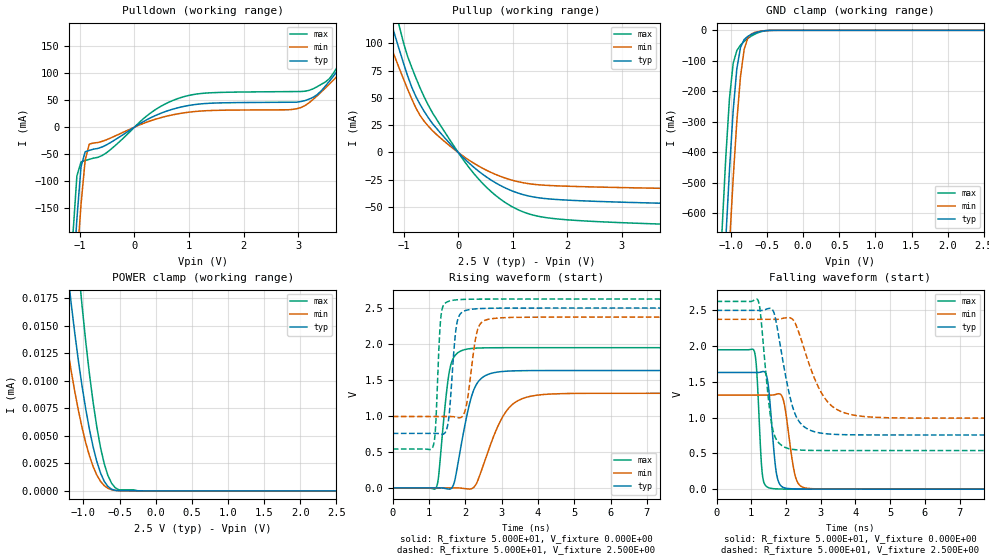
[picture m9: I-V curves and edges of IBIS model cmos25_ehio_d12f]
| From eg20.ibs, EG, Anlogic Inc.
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|   Model cmos25_ehio_d12f
[Model] cmos25_ehio_d12f
Model_type I/O
Enable   Active-Low
Vinl =  7.000E-01
Vinh =  1.700E+00
Vmeas =  1.250E+00
C_comp   4.500E-12   4.200E-12   4.800E-12
[Temperature Range]   2.500E+01   8.500E+01   -4.000E+01
[Voltage Range]   2.500E+00   2.375E+00   2.625E+00
[POWER Clamp Reference]   2.500E+00   2.375E+00   2.625E+00
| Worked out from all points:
|   slope of the pulldown table from 0 to 0.375 V, typ, clamps not added: 17.8 ohm
|   slope of the pullup table from 0 to 0.375 V, typ, clamps not added: 21.8 ohm
|   GND clamp passes 1 mA (typ) near -0.51 V on its own axis
|   rising waveform, R_fixture 5.000E+01, V_fixture 0.000E+00: 20-80 % time 400ps typ, 651ps min, 234ps max; typ from 0 V to 1.63 V
|   rising waveform, R_fixture 5.000E+01, V_fixture 2.500E+00: 20-80 % time 158ps typ, 220ps min, 109ps max; typ from 0.758 V to 2.5 V
|   falling waveform, R_fixture 5.000E+01, V_fixture 0.000E+00: 20-80 % time 173ps typ, 232ps min, 119ps max; typ from 1.63 V to 0 V
|   falling waveform, R_fixture 5.000E+01, V_fixture 2.500E+00: 20-80 % time 435ps typ, 690ps min, 258ps max; typ from 2.5 V to 0.758 V
[Pulldown]
|Voltage   I(typ)   I(min)   I(max)
-2.5V     -2.422A    -2.306A    -2.562A
-1.132V   -289.1mA   -359.7mA   -204.6mA
-1.056V   -170.4mA   -251.1mA   -90.55mA
-980mV    -73.47mA   -143.2mA   -64.33mA
-904mV    -45.6mA    -60.85mA   -61.94mA
-828mV    -43.05mA   -31.29mA   -59.55mA
616mV     30.55mA    20.93mA    45.52mA
3.048V    47.32mA    36.07mA    65.97mA
3.58V     85.73mA    80.33mA    90.37mA
4.112V    157.3mA    136.2mA    182.2mA
4.568V    220.8mA    185.2mA    266.2mA
5V        279mA      230.2mA    342.4mA
[Pullup]
|Voltage   I(typ)   I(min)   I(max)
-2.5V     325.1mA    258mA      408.2mA
-1.384V   144.7mA    116.7mA    180.3mA
-1.232V   119.2mA    96.67mA    147.7mA
-1.08V    94.18mA    77.04mA    115.7mA
-928mV    70.3mA     58.04mA    88.09mA
-776mV    51.28mA    40.77mA    68.38mA
-548mV    31.87mA    24.07mA    43.36mA
-320mV    17.58mA    13.04mA    24.41mA
364mV     -16.74mA   -12.14mA   -23.8mA
1.048V    -36.34mA   -26.17mA   -51.27mA
1.884V    -43.34mA   -30.71mA   -61.22mA
5V        -48.24mA   -34.09mA   -68.03mA
[GND_clamp]
|Voltage   I(typ)   I(min)   I(max)
-2.5V     -8.418A    -8.418A    -8.417A
-1.123V   -930.3mA   -1.179A    -654.3mA
-1.072V   -686.5mA   -937.5mA   -418.3mA
-1.021V   -460.4mA   -705.5mA   -224.3mA
-970mV    -265mA     -489.1mA   -108.9mA
-919mV    -126.3mA   -299.2mA   -66.46mA
-868mV    -56.3mA    -151.3mA   -48.52mA
-817mV    -30.13mA   -62.02mA   -36.27mA
-766mV    -19.43mA   -24.49mA   -26.43mA
-715mV    -12.99mA   -11.58mA   -18.38mA
-460mV    -252.4uA   -232.3uA   -246.2uA
2.5V      0A         0A         0A
[POWER_clamp]
|Voltage   I(typ)   I(min)   I(max)
-2.5V     148.8uA    110.4uA    210.4uA
-1.325V   26.65uA    17.72uA    42.46uA
-1.223V   20.08uA    13.05uA    32.78uA
-1.172V   17.1uA     10.96uA    28.34uA
-1.07V    11.79uA    7.288uA    20.3uA
-1.019V   9.479uA    5.728uA    16.75uA
-917mV    5.566uA    3.179uA    10.59uA
-866mV    3.984uA    2.205uA    8.014uA
-764mV    1.629uA    869nA      3.939uA
-662mV    406.6nA    239.7nA    1.408uA
-509mV    16.06nA    16.71nA    97.23nA
2.5V      0A         0A         0A
[Ramp]
| variable   typ   min   max
dV/dt_r   9.789E-01/4.002E-10   7.894E-01/6.498E-10   1.169E+00/2.345E-10
dV/dt_f   1.045E+00/4.356E-10   8.296E-01/6.992E-10   1.251E+00/2.650E-10
R_load = 5.000E+01
[Rising Waveform]
R_fixture= 5.000E+01
V_fixture= 0.000E+00
V_fixture_min= 0.000E+00
V_fixture_max= 0.000E+00
|time   V(typ)   V(min)   V(max)
0s        0V         0V         0V
1.194ns   233.7uV    0V         399.5uV
1.559ns   -17.64mV   60.92uV    1.619V
1.699ns   85.08mV    771.2uV    1.829V
1.91ns    665.7mV    -4.926mV   1.911V
2.148ns   1.233V     -14.54mV   1.937V
2.381ns   1.493V     155mV      1.945V
3.041ns   1.619V     999.5mV    1.949V
3.681ns   1.63V      1.26V      1.949V
10ns      1.632V     1.316V     1.949V
[Rising Waveform]
R_fixture= 5.000E+01
V_fixture= 2.500E+00
V_fixture_min= 2.375E+00
V_fixture_max= 2.625E+00
|time   V(typ)   V(min)   V(max)
0s        757.7mV    992.3mV    540mV
1.108ns   757.9mV    992.3mV    574.6mV
1.174ns   758.1mV    992.3mV    805.9mV
1.32ns    749.1mV    992.2mV    2.349V
1.519ns   888.4mV    992.7mV    2.59V
1.747ns   2.229V     982.5mV    2.614V
1.983ns   2.462V     1.058V     2.621V
2.311ns   2.49V      2.15V      2.624V
2.55ns    2.495V     2.332V     2.625V
10ns      2.5V       2.375V     2.625V
[Falling Waveform]
R_fixture= 5.000E+01
V_fixture= 0.000E+00
V_fixture_min= 0.000E+00
V_fixture_max= 0.000E+00
|time   V(typ)   V(min)   V(max)
0s        1.632V     1.316V     1.949V
1.088ns   1.631V     1.316V     1.928V
1.158ns   1.631V     1.316V     1.652V
1.318ns   1.643V     1.316V     218.7mV
1.489ns   1.458V     1.315V     22.53mV
1.717ns   247.5mV    1.326V     4.423mV
1.947ns   20.37mV    1.202V     1.384mV
2.253ns   3.879mV    213mV      362.8uV
2.523ns   1.58mV     20.27mV    117.7uV
10ns      0V         549.5nV    0V
[Falling Waveform]
R_fixture= 5.000E+01
V_fixture= 2.500E+00
V_fixture_min= 2.375E+00
V_fixture_max= 2.625E+00
|time   V(typ)   V(min)   V(max)
0s        2.5V       2.375V     2.625V
1.198ns   2.5V       2.375V     2.637V
1.268ns   2.499V     2.375V     2.447V
1.598ns   2.517V     2.375V     885.7mV
1.968ns   1.641V     2.394V     585.5mV
2.199ns   1.14V      2.372V     556mV
2.457ns   901.1mV    2.064V     545.5mV
3.059ns   780.2mV    1.316V     540.5mV
3.7ns     761.6mV    1.065V     540mV
10ns      757.7mV    992.3mV    540mV
